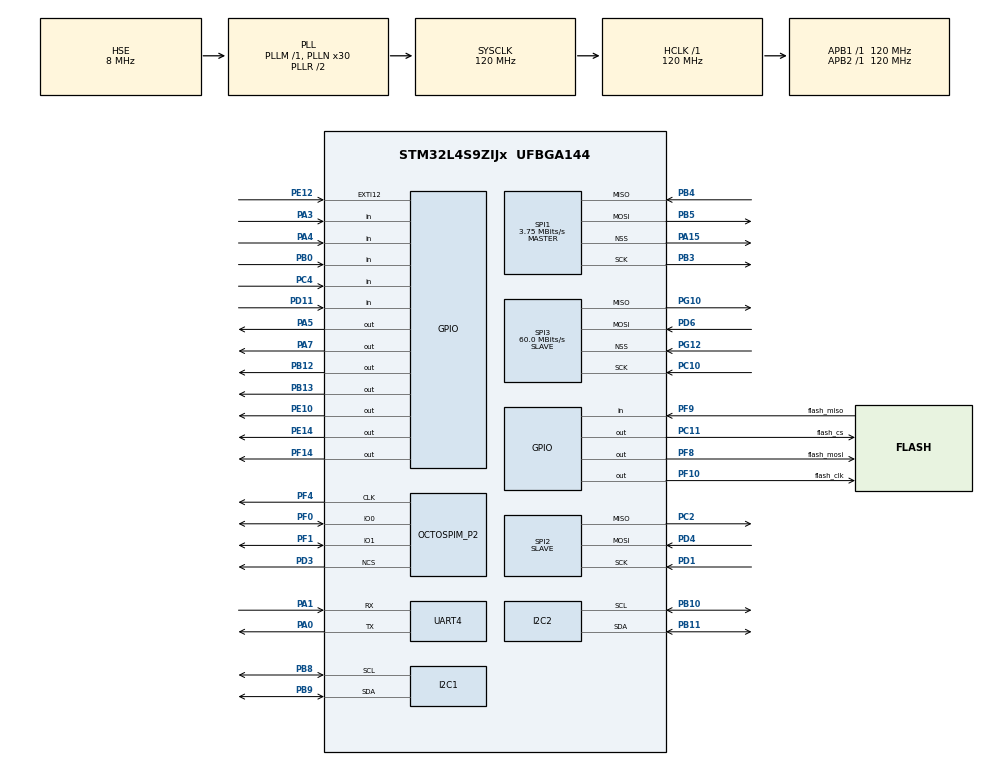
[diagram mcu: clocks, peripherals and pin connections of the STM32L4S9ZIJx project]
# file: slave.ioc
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DSIHOST.BTA_FlowControl=__NULL
DSIHOST.HorizontalBackPorch=252
DSIHOST.HorizontalLine=836
DSIHOST.HorizontalSyncActive=252
DSIHOST.LPCommandEnable=DSI_LP_COMMAND_ENABLE
DSIHOST.LPHorizontalBackPorchEnable=DSI_LP_HBP_ENABLE
DSIHOST.LPHorizontalFrontPorchEnable=DSI_LP_HFP_ENABLE
DSIHOST.LPLargestPacketSize=28
DSIHOST.LPVACTLargestPacketSize=80
DSIHOST.LPVerticalActiveEnable=DSI_LP_VACT_ENABLE
DSIHOST.LPVerticalBackPorchEnable=DSI_LP_VBP_ENABLE
DSIHOST.LPVerticalFrontPorchEnable=DSI_LP_VFP_ENABLE
DSIHOST.LPVerticalSyncActiveEnable=DSI_LP_VSYNC_ENABLE
DSIHOST.Mode=DSI_VID_MODE_NB_EVENTS
DSIHOST.PacketSize=80
DSIHOST.VerticalActive=80
DSIHOST.VerticalBackPorch=8
DSIHOST.VerticalFrontPorch=8
DSIHOST.VerticalSyncActive=8
DSIHOST_CKN.Mode=DSIHost_Video
DSIHOST_CKN.Signal=DSIHOST_CKN
DSIHOST_CKP.Mode=DSIHost_Video
DSIHOST_CKP.Signal=DSIHOST_CKP
DSIHOST_D0N.Mode=DSIHost_Video
DSIHOST_D0N.Signal=DSIHOST_D0N
DSIHOST_D0P.Mode=DSIHost_Video
DSIHOST_D0P.Signal=DSIHOST_D0P
DSIHOST_D1N.Mode=DSIHost_Video
DSIHOST_D1N.Signal=DSIHOST_D1N
DSIHOST_D1P.Mode=DSIHost_Video
DSIHOST_D1P.Signal=DSIHOST_D1P
I2C1.Timing=0x307075B1
I2C2.Timing=0x307075B1
LTDC.ActiveH=80
LTDC.ActiveW=80
LTDC.Alpha_L0=255
LTDC.Blue=255
LTDC.Blue_L0=255
LTDC.FBStartAdress_L0=(uint32_t *)image_80x80_rgb888
LTDC.Green=255
LTDC.Green_L0=255
LTDC.HBP=252
LTDC.HFP=252
LTDC.HSPolarity=LTDC_HSPOLARITY_AH
LTDC.HSync=252
LTDC.ImageHeight_L0=80
LTDC.ImageWidth_L0=80
LTDC.Layers=0
LTDC.PixelFormat_L0=LTDC_PIXEL_FORMAT_RGB888
LTDC.Red=255
LTDC.Red_L0=255
LTDC.VBP=8
LTDC.VSPolarity=LTDC_VSPOLARITY_AH
LTDC.VSync=8
LTDC.WindowX1_L0=80
LTDC.WindowY1_L0=80
Mcu.Family=STM32L4
Mcu.Name=STM32L4S9ZIJx
Mcu.Package=UFBGA144
NVIC.EXTI15_10_IRQn=true\:3\:0\:true\:false\:true\:true\:true\:true
NVIC.PriorityGroup=NVIC_PRIORITYGROUP_4
NVIC.SPI3_IRQn=true\:0\:0\:false\:false\:true\:true\:true\:true
PA0.Mode=Asynchronous
PA0.Signal=UART4_TX
PA1.Mode=Asynchronous
PA1.Signal=UART4_RX
PA15\ (JTDI).Mode=NSS_Signal_Hard_Output
PA15\ (JTDI).Signal=SPI1_NSS
PA3.Signal=GPIO_Input
PA4.Signal=GPIO_Input
PA5.Signal=GPIO_Output
PA7.Signal=GPIO_Output
PB0.Signal=GPIO_Input
PB10.Mode=I2C
PB10.Signal=I2C2_SCL
PB11.Mode=I2C
PB11.Signal=I2C2_SDA
PB12.Signal=GPIO_Output
PB13.Signal=GPIO_Output
PB3\ (JTDO/TRACESWO).Mode=Full_Duplex_Master
PB3\ (JTDO/TRACESWO).Signal=SPI1_SCK
PB4\ (NJTRST).Mode=Full_Duplex_Master
PB4\ (NJTRST).Signal=SPI1_MISO
PB5.Mode=Full_Duplex_Master
PB5.Signal=SPI1_MOSI
PB8.Mode=I2C
PB8.Signal=I2C1_SCL
PB9.Mode=I2C
PB9.Signal=I2C1_SDA
PC10.Mode=Full_Duplex_Slave
PC10.Signal=SPI3_SCK
PC11.GPIO_Label=flash_cs
PC11.GPIO_Speed=GPIO_SPEED_FREQ_VERY_HIGH
PC11.PinState=GPIO_PIN_SET
PC11.Signal=GPIO_Output
PC2.Mode=Full_Duplex_Slave
PC2.Signal=SPI2_MISO
PC4.Signal=GPIO_Input
PD1.Mode=Full_Duplex_Slave
PD1.Signal=SPI2_SCK
PD11.Signal=GPIO_Input
PD3.Mode=OCTOSPI2_Port2_NCS
PD3.Signal=OCTOSPIM_P2_NCS
PD4.Mode=Full_Duplex_Slave
PD4.Signal=SPI2_MOSI
PD6.Mode=Full_Duplex_Slave
PD6.Signal=SPI3_MOSI
PE10.Signal=GPIO_Output
PE12.GPIO_PuPd=GPIO_PULLDOWN
PE12.Signal=GPXTI12
PE14.GPIO_ModeDefaultOutputPP=GPIO_MODE_OUTPUT_PP
PE14.GPIO_PuPd=GPIO_PULLUP
PE14.GPIO_Speed=GPIO_SPEED_FREQ_VERY_HIGH
PE14.PinState=GPIO_PIN_SET
PE14.Signal=GPIO_Output
PF0.Mode=OCTOSPI2_IOL_Port2L_10
PF0.Signal=OCTOSPIM_P2_IO0
PF1.Mode=OCTOSPI2_IOL_Port2L_10
PF1.Signal=OCTOSPIM_P2_IO1
PF10.GPIO_Label=flash_clk
PF10.GPIO_Speed=GPIO_SPEED_FREQ_VERY_HIGH
PF10.Signal=GPIO_Output
PF14.GPIO_ModeDefaultOutputPP=GPIO_MODE_OUTPUT_PP
PF14.GPIO_PuPd=GPIO_NOPULL
PF14.Signal=GPIO_Output
PF4.Mode=O2_P2_CLK
PF4.Signal=OCTOSPIM_P2_CLK
PF8.GPIO_Label=flash_mosi
PF8.GPIO_Speed=GPIO_SPEED_FREQ_VERY_HIGH
PF8.Signal=GPIO_Output
PF9.GPIO_Label=flash_miso
PF9.Signal=GPIO_Input
PG10.Mode=Full_Duplex_Slave
PG10.Signal=SPI3_MISO
PG12.Mode=NSS_Signal_Hard_Input
PG12.Signal=SPI3_NSS
PH0-OSC_IN\ (PH0).Mode=HSE-External-Oscillator
PH0-OSC_IN\ (PH0).Signal=RCC_OSC_IN
PH1-OSC_OUT\ (PH1).Mode=HSE-External-Oscillator
PH1-OSC_OUT\ (PH1).Signal=RCC_OSC_OUT
ProjectManager.HeapSize=0x200
ProjectManager.StackSize=0x400
ProjectManager.TargetToolchain=STM32CubeIDE
RCC.ADCFreq_Value=32000000
RCC.AHBFreq_Value=120000000
RCC.APB1Freq_Value=120000000
RCC.APB1TimFreq_Value=120000000
RCC.APB2Freq_Value=120000000
RCC.APB2TimFreq_Value=120000000
RCC.CortexFreq_Value=120000000
RCC.DSITX_Div=2
RCC.HCLKFreq_Value=120000000
RCC.HSE_VALUE=8000000
RCC.HSI48_VALUE=48000000
RCC.HSI_VALUE=16000000
RCC.LSE_VALUE=32768
RCC.LtdcClockSelection=RCC_LTDCCLKSOURCE_PLLSAI2_DIV4
RCC.MSI_VALUE=4000000
RCC.PLLDSINDIV=50
RCC.PLLDSIODF=DSI_PLL_OUT_DIV2
RCC.PLLN=30
RCC.PLLSourceVirtual=RCC_PLLSOURCE_HSE
RCC.PREFETCH_ENABLE=1
RCC.SYSCLKFreq_VALUE=120000000
RCC.SYSCLKSource=RCC_SYSCLKSOURCE_PLLCLK
RCC.USBFreq_Value=32000000
RCC.VCOOutputFreq_Value=240000000
SPI1.BaudRatePrescaler=SPI_BAUDRATEPRESCALER_32
SPI1.CLKPolarity=SPI_POLARITY_LOW
SPI1.CalculateBaudRate=3.75 MBits/s
SPI1.DataSize=SPI_DATASIZE_8BIT
SPI1.Direction=SPI_DIRECTION_2LINES
SPI1.Mode=SPI_MODE_MASTER
SPI1.VirtualNSS=VM_NSSHARD
SPI1.VirtualType=VM_MASTER
SPI2.DataSize=SPI_DATASIZE_8BIT
SPI2.Direction=SPI_DIRECTION_2LINES
SPI2.Mode=SPI_MODE_SLAVE
SPI2.VirtualType=VM_SLAVE
SPI3.CalculateBaudRate=60.0 MBits/s
SPI3.DataSize=SPI_DATASIZE_8BIT
SPI3.Direction=SPI_DIRECTION_2LINES
SPI3.Mode=SPI_MODE_SLAVE
SPI3.VirtualNSS=VM_NSSHARD
SPI3.VirtualType=VM_SLAVE
VP_LTDC_DSIMode.Mode=RGB888
VP_OCTOSPI2_VS_dual.Mode=single_mode
board=custom

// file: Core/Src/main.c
/* USER CODE BEGIN Header */
/**
 ******************************************************************************
 * @file           : main.c
 * @brief          : Main program body
 ******************************************************************************
 * @attention
 *
 * Copyright (c) 2023 STMicroelectronics.
 * All rights reserved.
 *
 * This software is licensed under terms that can be found in the LICENSE file
 * in the root directory of this software component.
 * If no LICENSE file comes with this software, it is provided AS-IS.
 *
 ******************************************************************************
 */
/* USER CODE END Header */
#include "main.h"

DSI_HandleTypeDef hdsi;

I2C_HandleTypeDef hi2c1;
I2C_HandleTypeDef hi2c2;

LTDC_HandleTypeDef hltdc;

OSPI_HandleTypeDef hospi2;

SPI_HandleTypeDef hspi1;
SPI_HandleTypeDef hspi2;
SPI_HandleTypeDef hspi3;

UART_HandleTypeDef huart4;

/* USER CODE BEGIN PV */
#define HARDWARE_VER "1.0.0"
#define FLASH_CLK_PIN       GPIO_PIN_10
#define FLASH_CLK_PORT      GPIOF
#define FLASH_CS_PIN        GPIO_PIN_11
#define FLASH_CS_PORT       GPIOC
#define FLASH_MISO_PIN      GPIO_PIN_9
#define FLASH_MISO_PORT     GPIOF
#define FLASH_MOSI_PIN      GPIO_PIN_8
#define FLASH_MOSI_PORT     GPIOF

uint8_t BOARD_NUMBER = 2;
uint8_t spi3_buf[2] = {0};
uint32_t frame_rate=1000; //delay time (ms)
uint8_t frame_buf_tmp[6400]={0};
uint8_t frame_buf_0[6400]={0};
uint8_t frame_buf_1[6400]={0};
uint8_t frame_buf_flash[6400]={0};
uint8_t play_mode=0;  //0=Static display, 1=Dynamic display
uint8_t play_mode_source=0;  //0=flash, 1=frame_buf_0, 2=frame_buf_1
uint8_t static_flag=0;  //0=buffer_0, 1=buffer_1
uint8_t display_image_number=0;
uint8_t total_image_in_flash=10;
uint8_t image_80x80_rgb888[19200] =	{[0 ... 19199] = 0xFF};

#define BUFFER_SIZE  8192
uint8_t aRxBuffer[BUFFER_SIZE] = { 0 };

/* USER CODE END PV */

void SystemClock_Config(void);
static void MX_GPIO_Init(void);
static void MX_I2C1_Init(void);
static void MX_I2C2_Init(void);
static void MX_OCTOSPI2_Init(void);
static void MX_SPI1_Init(void);
static void MX_SPI2_Init(void);
static void MX_SPI3_Init(void);
static void MX_UART4_Init(void);
static void MX_DSIHOST_DSI_Init(void);
static void MX_LTDC_Init(void);
/* USER CODE BEGIN PFP */
static void mipi_config(void);
static void SPI_master2slave(char * buf, char * frame_buf, uint8_t image_flag);
static void Write_Registers_data(uint8_t do_flag);
static void I2C_Control_Voltage(void);
static void LCD_PowerOn(void);
void delay_us(int time);
void delay_100ns(int time);
void FLASH_WriteByte(uint8_t data);
uint8_t FLASH_ReadByte(void);
void write_flash_page(uint8_t *data, uint8_t image_id);
void read_flash_page(uint8_t *data, uint8_t image_id);
void erase_flash_sector(uint8_t image_id);
void reset_flash_software();
/* USER CODE END PFP */

int main(void)
{

  /* MCU Configuration--------------------------------------------------------*/

  /* Reset of all peripherals, Initializes the Flash interface and the Systick. */
  HAL_Init();

  /* Configure the system clock */
  SystemClock_Config();

  /* Initialize all configured peripherals */
  MX_GPIO_Init();
  MX_I2C1_Init();
  MX_I2C2_Init();
  MX_OCTOSPI2_Init();
  MX_SPI1_Init();
  MX_SPI2_Init();
  MX_SPI3_Init();
  MX_UART4_Init();
  MX_DSIHOST_DSI_Init();
  MX_LTDC_Init();
  /* USER CODE BEGIN 2 */
  mipi_config();
  HAL_UART_Transmit(&huart4, "slave start", 11, 1000);
  /* USER CODE END 2 */

  /* Infinite loop */
  /* USER CODE BEGIN WHILE */
  int frame_buf_count = 0;

	if(HAL_GPIO_ReadPin(GPIOB, GPIO_PIN_0) == GPIO_PIN_SET && HAL_GPIO_ReadPin(GPIOC, GPIO_PIN_4) == GPIO_PIN_SET) //switch = 00
	{
		BOARD_NUMBER = 2;
	}
	else if(HAL_GPIO_ReadPin(GPIOB, GPIO_PIN_0) == GPIO_PIN_SET && HAL_GPIO_ReadPin(GPIOC, GPIO_PIN_4) == GPIO_PIN_RESET) //switch = 01
	{
		BOARD_NUMBER = 2;
	}
	else if(HAL_GPIO_ReadPin(GPIOB, GPIO_PIN_0) == GPIO_PIN_RESET && HAL_GPIO_ReadPin(GPIOC, GPIO_PIN_4) == GPIO_PIN_SET) //switch = 10
	{
		BOARD_NUMBER = 3;
	}
	else if(HAL_GPIO_ReadPin(GPIOB, GPIO_PIN_0) == GPIO_PIN_RESET && HAL_GPIO_ReadPin(GPIOC, GPIO_PIN_4) == GPIO_PIN_RESET) //switch = 11
	{
		BOARD_NUMBER = 4;
	}

    __HAL_SPI_ENABLE(&hspi1);
    __HAL_SPI_ENABLE(&hspi3);
	HAL_SPI_Receive_IT(&hspi3, &spi3_buf, 2);

	while (1) {
    /* USER CODE END WHILE */

    /* USER CODE BEGIN 3 */
		if(play_mode_source == 0)
		{
			if(play_mode == 0)
			{
				read_flash_page(&frame_buf_flash, display_image_number);
				frame_buf_count = 0;
				for (int i = 0; i < 6400;  i += 4)
				{
					image_80x80_rgb888[frame_buf_count] = frame_buf_flash[i+1];
					frame_buf_count += 2;
					image_80x80_rgb888[frame_buf_count] = frame_buf_flash[i];
					frame_buf_count += 4;
					image_80x80_rgb888[frame_buf_count] = frame_buf_flash[i+2];
					frame_buf_count += 4;
					image_80x80_rgb888[frame_buf_count] = frame_buf_flash[i+3];
					frame_buf_count += 2;
				}
			}
			else if(play_mode == 1)
			{
				for(int i=0; i<total_image_in_flash; i++)
				{
					if(play_mode_source != 0) break;
					read_flash_page(&frame_buf_flash, i);
					frame_buf_count = 0;
					for (int i = 0; i < 6400;  i += 4)
					{
						image_80x80_rgb888[frame_buf_count] = frame_buf_flash[i+1];
						frame_buf_count += 2;
						image_80x80_rgb888[frame_buf_count] = frame_buf_flash[i];
						frame_buf_count += 4;
						image_80x80_rgb888[frame_buf_count] = frame_buf_flash[i+2];
						frame_buf_count += 4;
						image_80x80_rgb888[frame_buf_count] = frame_buf_flash[i+3];
						frame_buf_count += 2;
					}
					HAL_Delay(frame_rate);
				}
			}
		}
		else if(play_mode_source == 1)
		{
			frame_buf_count = 0;
			for (int i = 0; i < 6400;  i += 4)
			{
				image_80x80_rgb888[frame_buf_count] = frame_buf_0[i+1];
				frame_buf_count += 2;
				image_80x80_rgb888[frame_buf_count] = frame_buf_0[i];
				frame_buf_count += 4;
				image_80x80_rgb888[frame_buf_count] = frame_buf_0[i+2];
				frame_buf_count += 4;
				image_80x80_rgb888[frame_buf_count] = frame_buf_0[i+3];
				frame_buf_count += 2;
			}
		}
		else if(play_mode_source == 2)
		{
			frame_buf_count = 0;
			for (int i = 0; i < 6400;  i += 4)
			{
				image_80x80_rgb888[frame_buf_count] = frame_buf_1[i+1];
				frame_buf_count += 2;
				image_80x80_rgb888[frame_buf_count] = frame_buf_1[i];
				frame_buf_count += 4;
				image_80x80_rgb888[frame_buf_count] = frame_buf_1[i+2];
				frame_buf_count += 4;
				image_80x80_rgb888[frame_buf_count] = frame_buf_1[i+3];
				frame_buf_count += 2;
			}
		}
		HAL_Delay(10);

		/*I2C_Control_Voltage();
		while (1);*/
	}
  /* USER CODE END 3 */
}

void SystemClock_Config(void)
{
  RCC_OscInitTypeDef RCC_OscInitStruct = {0};
  RCC_ClkInitTypeDef RCC_ClkInitStruct = {0};

  /** Configure the main internal regulator output voltage
  */
  if (HAL_PWREx_ControlVoltageScaling(PWR_REGULATOR_VOLTAGE_SCALE1_BOOST) != HAL_OK)
  {
    Error_Handler();
  }

  /** Initializes the RCC Oscillators according to the specified parameters
  * in the RCC_OscInitTypeDef structure.
  */
  RCC_OscInitStruct.OscillatorType = RCC_OSCILLATORTYPE_HSE;
  RCC_OscInitStruct.HSEState = RCC_HSE_ON;
  RCC_OscInitStruct.PLL.PLLState = RCC_PLL_ON;
  RCC_OscInitStruct.PLL.PLLSource = RCC_PLLSOURCE_HSE;
  RCC_OscInitStruct.PLL.PLLM = 1;
  RCC_OscInitStruct.PLL.PLLN = 30;
  RCC_OscInitStruct.PLL.PLLP = RCC_PLLP_DIV2;
  RCC_OscInitStruct.PLL.PLLQ = RCC_PLLQ_DIV2;
  RCC_OscInitStruct.PLL.PLLR = RCC_PLLR_DIV2;
  if (HAL_RCC_OscConfig(&RCC_OscInitStruct) != HAL_OK)
  {
    Error_Handler();
  }

  /** Initializes the CPU, AHB and APB buses clocks
  */
  RCC_ClkInitStruct.ClockType = RCC_CLOCKTYPE_HCLK|RCC_CLOCKTYPE_SYSCLK
                              |RCC_CLOCKTYPE_PCLK1|RCC_CLOCKTYPE_PCLK2;
  RCC_ClkInitStruct.SYSCLKSource = RCC_SYSCLKSOURCE_PLLCLK;
  RCC_ClkInitStruct.AHBCLKDivider = RCC_SYSCLK_DIV1;
  RCC_ClkInitStruct.APB1CLKDivider = RCC_HCLK_DIV1;
  RCC_ClkInitStruct.APB2CLKDivider = RCC_HCLK_DIV1;

  if (HAL_RCC_ClockConfig(&RCC_ClkInitStruct, FLASH_LATENCY_5) != HAL_OK)
  {
    Error_Handler();
  }
}

static void MX_DSIHOST_DSI_Init(void)
{

  DSI_PLLInitTypeDef PLLInit = {0};
  DSI_HOST_TimeoutTypeDef HostTimeouts = {0};
  DSI_PHY_TimerTypeDef PhyTimings = {0};
  DSI_VidCfgTypeDef VidCfg = {0};

  hdsi.Instance = DSI;
  hdsi.Init.AutomaticClockLaneControl = DSI_AUTO_CLK_LANE_CTRL_DISABLE;
  hdsi.Init.TXEscapeCkdiv = 2;
  hdsi.Init.NumberOfLanes = DSI_ONE_DATA_LANE;
  PLLInit.PLLNDIV = 50;
  PLLInit.PLLIDF = DSI_PLL_IN_DIV1;
  PLLInit.PLLODF = DSI_PLL_OUT_DIV2;
  if (HAL_DSI_Init(&hdsi, &PLLInit) != HAL_OK)
  {
    Error_Handler();
  }
  HostTimeouts.TimeoutCkdiv = 1;
  HostTimeouts.HighSpeedTransmissionTimeout = 0;
  HostTimeouts.LowPowerReceptionTimeout = 0;
  HostTimeouts.HighSpeedReadTimeout = 0;
  HostTimeouts.LowPowerReadTimeout = 0;
  HostTimeouts.HighSpeedWriteTimeout = 0;
  HostTimeouts.HighSpeedWritePrespMode = DSI_HS_PM_DISABLE;
  HostTimeouts.LowPowerWriteTimeout = 0;
  HostTimeouts.BTATimeout = 0;
  if (HAL_DSI_ConfigHostTimeouts(&hdsi, &HostTimeouts) != HAL_OK)
  {
    Error_Handler();
  }
  PhyTimings.ClockLaneHS2LPTime = 19;
  PhyTimings.ClockLaneLP2HSTime = 15;
  PhyTimings.DataLaneHS2LPTime = 9;
  PhyTimings.DataLaneLP2HSTime = 10;
  PhyTimings.DataLaneMaxReadTime = 0;
  PhyTimings.StopWaitTime = 0;
  if (HAL_DSI_ConfigPhyTimer(&hdsi, &PhyTimings) != HAL_OK)
  {
    Error_Handler();
  }
  if (HAL_DSI_SetLowPowerRXFilter(&hdsi, 10000) != HAL_OK)
  {
    Error_Handler();
  }
  if (HAL_DSI_ConfigErrorMonitor(&hdsi, HAL_DSI_ERROR_NONE) != HAL_OK)
  {
    Error_Handler();
  }
  VidCfg.VirtualChannelID = 0;
  VidCfg.ColorCoding = DSI_RGB888;
  VidCfg.LooselyPacked = DSI_LOOSELY_PACKED_DISABLE;
  VidCfg.Mode = DSI_VID_MODE_NB_EVENTS;
  VidCfg.PacketSize = 80;
  VidCfg.NumberOfChunks = 1;
  VidCfg.NullPacketSize = 0;
  VidCfg.HSPolarity = DSI_HSYNC_ACTIVE_HIGH;
  VidCfg.VSPolarity = DSI_VSYNC_ACTIVE_HIGH;
  VidCfg.DEPolarity = DSI_DATA_ENABLE_ACTIVE_HIGH;
  VidCfg.HorizontalSyncActive = 252;
  VidCfg.HorizontalBackPorch = 252;
  VidCfg.HorizontalLine = 836;
  VidCfg.VerticalSyncActive = 8;
  VidCfg.VerticalBackPorch = 8;
  VidCfg.VerticalFrontPorch = 8;
  VidCfg.VerticalActive = 80;
  VidCfg.LPCommandEnable = DSI_LP_COMMAND_ENABLE;
  VidCfg.LPLargestPacketSize = 28;
  VidCfg.LPVACTLargestPacketSize = 80;
  VidCfg.LPHorizontalFrontPorchEnable = DSI_LP_HFP_ENABLE;
  VidCfg.LPHorizontalBackPorchEnable = DSI_LP_HBP_ENABLE;
  VidCfg.LPVerticalActiveEnable = DSI_LP_VACT_ENABLE;
  VidCfg.LPVerticalFrontPorchEnable = DSI_LP_VFP_ENABLE;
  VidCfg.LPVerticalBackPorchEnable = DSI_LP_VBP_ENABLE;
  VidCfg.LPVerticalSyncActiveEnable = DSI_LP_VSYNC_ENABLE;
  VidCfg.FrameBTAAcknowledgeEnable = DSI_FBTAA_DISABLE;
  if (HAL_DSI_ConfigVideoMode(&hdsi, &VidCfg) != HAL_OK)
  {
    Error_Handler();
  }
  if (HAL_DSI_SetGenericVCID(&hdsi, 0) != HAL_OK)
  {
    Error_Handler();
  }
  /* USER CODE BEGIN DSIHOST_Init 2 */
	LCD_PowerOn();
  /* USER CODE END DSIHOST_Init 2 */

}

static void MX_I2C1_Init(void)
{

  hi2c1.Instance = I2C1;
  hi2c1.Init.Timing = 0x307075B1;
  hi2c1.Init.OwnAddress1 = 0;
  hi2c1.Init.AddressingMode = I2C_ADDRESSINGMODE_7BIT;
  hi2c1.Init.DualAddressMode = I2C_DUALADDRESS_DISABLE;
  hi2c1.Init.OwnAddress2 = 0;
  hi2c1.Init.OwnAddress2Masks = I2C_OA2_NOMASK;
  hi2c1.Init.GeneralCallMode = I2C_GENERALCALL_DISABLE;
  hi2c1.Init.NoStretchMode = I2C_NOSTRETCH_DISABLE;
  if (HAL_I2C_Init(&hi2c1) != HAL_OK)
  {
    Error_Handler();
  }

  /** Configure Analogue filter
  */
  if (HAL_I2CEx_ConfigAnalogFilter(&hi2c1, I2C_ANALOGFILTER_ENABLE) != HAL_OK)
  {
    Error_Handler();
  }

  /** Configure Digital filter
  */
  if (HAL_I2CEx_ConfigDigitalFilter(&hi2c1, 0) != HAL_OK)
  {
    Error_Handler();
  }

}

static void MX_I2C2_Init(void)
{

  hi2c2.Instance = I2C2;
  hi2c2.Init.Timing = 0x307075B1;
  hi2c2.Init.OwnAddress1 = 0;
  hi2c2.Init.AddressingMode = I2C_ADDRESSINGMODE_7BIT;
  hi2c2.Init.DualAddressMode = I2C_DUALADDRESS_DISABLE;
  hi2c2.Init.OwnAddress2 = 0;
  hi2c2.Init.OwnAddress2Masks = I2C_OA2_NOMASK;
  hi2c2.Init.GeneralCallMode = I2C_GENERALCALL_DISABLE;
  hi2c2.Init.NoStretchMode = I2C_NOSTRETCH_DISABLE;
  if (HAL_I2C_Init(&hi2c2) != HAL_OK)
  {
    Error_Handler();
  }

  /** Configure Analogue filter
  */
  if (HAL_I2CEx_ConfigAnalogFilter(&hi2c2, I2C_ANALOGFILTER_ENABLE) != HAL_OK)
  {
    Error_Handler();
  }

  /** Configure Digital filter
  */
  if (HAL_I2CEx_ConfigDigitalFilter(&hi2c2, 0) != HAL_OK)
  {
    Error_Handler();
  }

}

static void MX_LTDC_Init(void)
{

  LTDC_LayerCfgTypeDef pLayerCfg = {0};

  hltdc.Instance = LTDC;
  hltdc.Init.HSPolarity = LTDC_HSPOLARITY_AH;
  hltdc.Init.VSPolarity = LTDC_VSPOLARITY_AH;
  hltdc.Init.DEPolarity = LTDC_DEPOLARITY_AL;
  hltdc.Init.PCPolarity = LTDC_PCPOLARITY_IPC;
  hltdc.Init.HorizontalSync = 251;
  hltdc.Init.VerticalSync = 7;
  hltdc.Init.AccumulatedHBP = 503;
  hltdc.Init.AccumulatedVBP = 15;
  hltdc.Init.AccumulatedActiveW = 583;
  hltdc.Init.AccumulatedActiveH = 95;
  hltdc.Init.TotalWidth = 835;
  hltdc.Init.TotalHeigh = 97;
  hltdc.Init.Backcolor.Blue = 255;
  hltdc.Init.Backcolor.Green = 255;
  hltdc.Init.Backcolor.Red = 255;
  if (HAL_LTDC_Init(&hltdc) != HAL_OK)
  {
    Error_Handler();
  }
  pLayerCfg.WindowX0 = 0;
  pLayerCfg.WindowX1 = 80;
  pLayerCfg.WindowY0 = 0;
  pLayerCfg.WindowY1 = 80;
  pLayerCfg.PixelFormat = LTDC_PIXEL_FORMAT_RGB888;
  pLayerCfg.Alpha = 255;
  pLayerCfg.Alpha0 = 0;
  pLayerCfg.BlendingFactor1 = LTDC_BLENDING_FACTOR1_CA;
  pLayerCfg.BlendingFactor2 = LTDC_BLENDING_FACTOR2_CA;
  pLayerCfg.FBStartAdress = (uint32_t *)image_80x80_rgb888;
  pLayerCfg.ImageWidth = 80;
  pLayerCfg.ImageHeight = 80;
  pLayerCfg.Backcolor.Blue = 255;
  pLayerCfg.Backcolor.Green = 255;
  pLayerCfg.Backcolor.Red = 255;
  if (HAL_LTDC_ConfigLayer(&hltdc, &pLayerCfg, 0) != HAL_OK)
  {
    Error_Handler();
  }
  /* USER CODE BEGIN LTDC_Init 2 */
  //(uint32_t *)image_80x80_rgb888;
  /* USER CODE END LTDC_Init 2 */

}

static void MX_OCTOSPI2_Init(void)
{

  OSPIM_CfgTypeDef OSPIM_Cfg_Struct = {0};

  /* OCTOSPI2 parameter configuration*/
  hospi2.Instance = OCTOSPI2;
  hospi2.Init.FifoThreshold = 1;
  hospi2.Init.DualQuad = HAL_OSPI_DUALQUAD_DISABLE;
  hospi2.Init.MemoryType = HAL_OSPI_MEMTYPE_MICRON;
  hospi2.Init.DeviceSize = 32;
  hospi2.Init.ChipSelectHighTime = 1;
  hospi2.Init.FreeRunningClock = HAL_OSPI_FREERUNCLK_DISABLE;
  hospi2.Init.ClockMode = HAL_OSPI_CLOCK_MODE_0;
  hospi2.Init.ClockPrescaler = 1;
  hospi2.Init.SampleShifting = HAL_OSPI_SAMPLE_SHIFTING_NONE;
  hospi2.Init.DelayHoldQuarterCycle = HAL_OSPI_DHQC_DISABLE;
  hospi2.Init.ChipSelectBoundary = 0;
  hospi2.Init.DelayBlockBypass = HAL_OSPI_DELAY_BLOCK_BYPASSED;
  if (HAL_OSPI_Init(&hospi2) != HAL_OK)
  {
    Error_Handler();
  }
  OSPIM_Cfg_Struct.ClkPort = 2;
  OSPIM_Cfg_Struct.NCSPort = 2;
  OSPIM_Cfg_Struct.IOLowPort = HAL_OSPIM_IOPORT_2_LOW;
  if (HAL_OSPIM_Config(&hospi2, &OSPIM_Cfg_Struct, HAL_OSPI_TIMEOUT_DEFAULT_VALUE) != HAL_OK)
  {
    Error_Handler();
  }

}

static void MX_SPI1_Init(void)
{

  /* SPI1 parameter configuration*/
  hspi1.Instance = SPI1;
  hspi1.Init.Mode = SPI_MODE_MASTER;
  hspi1.Init.Direction = SPI_DIRECTION_2LINES;
  hspi1.Init.DataSize = SPI_DATASIZE_8BIT;
  hspi1.Init.CLKPolarity = SPI_POLARITY_LOW;
  hspi1.Init.CLKPhase = SPI_PHASE_1EDGE;
  hspi1.Init.NSS = SPI_NSS_HARD_OUTPUT;
  hspi1.Init.BaudRatePrescaler = SPI_BAUDRATEPRESCALER_32;
  hspi1.Init.FirstBit = SPI_FIRSTBIT_MSB;
  hspi1.Init.TIMode = SPI_TIMODE_DISABLE;
  hspi1.Init.CRCCalculation = SPI_CRCCALCULATION_DISABLE;
  hspi1.Init.CRCPolynomial = 7;
  hspi1.Init.CRCLength = SPI_CRC_LENGTH_DATASIZE;
  hspi1.Init.NSSPMode = SPI_NSS_PULSE_ENABLE;
  if (HAL_SPI_Init(&hspi1) != HAL_OK)
  {
    Error_Handler();
  }

}

static void MX_SPI2_Init(void)
{

  /* SPI2 parameter configuration*/
  hspi2.Instance = SPI2;
  hspi2.Init.Mode = SPI_MODE_SLAVE;
  hspi2.Init.Direction = SPI_DIRECTION_2LINES;
  hspi2.Init.DataSize = SPI_DATASIZE_8BIT;
  hspi2.Init.CLKPolarity = SPI_POLARITY_LOW;
  hspi2.Init.CLKPhase = SPI_PHASE_1EDGE;
  hspi2.Init.NSS = SPI_NSS_SOFT;
  hspi2.Init.FirstBit = SPI_FIRSTBIT_MSB;
  hspi2.Init.TIMode = SPI_TIMODE_DISABLE;
  hspi2.Init.CRCCalculation = SPI_CRCCALCULATION_DISABLE;
  hspi2.Init.CRCPolynomial = 7;
  hspi2.Init.CRCLength = SPI_CRC_LENGTH_DATASIZE;
  hspi2.Init.NSSPMode = SPI_NSS_PULSE_DISABLE;
  if (HAL_SPI_Init(&hspi2) != HAL_OK)
  {
    Error_Handler();
  }

}

static void MX_SPI3_Init(void)
{

  /* SPI3 parameter configuration*/
  hspi3.Instance = SPI3;
  hspi3.Init.Mode = SPI_MODE_SLAVE;
  hspi3.Init.Direction = SPI_DIRECTION_2LINES;
  hspi3.Init.DataSize = SPI_DATASIZE_8BIT;
  hspi3.Init.CLKPolarity = SPI_POLARITY_LOW;
  hspi3.Init.CLKPhase = SPI_PHASE_1EDGE;
  hspi3.Init.NSS = SPI_NSS_HARD_INPUT;
  hspi3.Init.FirstBit = SPI_FIRSTBIT_MSB;
  hspi3.Init.TIMode = SPI_TIMODE_DISABLE;
  hspi3.Init.CRCCalculation = SPI_CRCCALCULATION_DISABLE;
  hspi3.Init.CRCPolynomial = 7;
  hspi3.Init.CRCLength = SPI_CRC_LENGTH_DATASIZE;
  hspi3.Init.NSSPMode = SPI_NSS_PULSE_DISABLE;
  if (HAL_SPI_Init(&hspi3) != HAL_OK)
  {
    Error_Handler();
  }

}

static void MX_UART4_Init(void)
{

  huart4.Instance = UART4;
  huart4.Init.BaudRate = 115200;
  huart4.Init.WordLength = UART_WORDLENGTH_8B;
  huart4.Init.StopBits = UART_STOPBITS_1;
  huart4.Init.Parity = UART_PARITY_NONE;
  huart4.Init.Mode = UART_MODE_TX_RX;
  huart4.Init.HwFlowCtl = UART_HWCONTROL_NONE;
  huart4.Init.OverSampling = UART_OVERSAMPLING_16;
  huart4.Init.OneBitSampling = UART_ONE_BIT_SAMPLE_DISABLE;
  huart4.Init.ClockPrescaler = UART_PRESCALER_DIV1;
  huart4.AdvancedInit.AdvFeatureInit = UART_ADVFEATURE_NO_INIT;
  if (HAL_UART_Init(&huart4) != HAL_OK)
  {
    Error_Handler();
  }
  if (HAL_UARTEx_SetTxFifoThreshold(&huart4, UART_TXFIFO_THRESHOLD_1_8) != HAL_OK)
  {
    Error_Handler();
  }
  if (HAL_UARTEx_SetRxFifoThreshold(&huart4, UART_RXFIFO_THRESHOLD_1_8) != HAL_OK)
  {
    Error_Handler();
  }
  if (HAL_UARTEx_DisableFifoMode(&huart4) != HAL_OK)
  {
    Error_Handler();
  }

}

static void MX_GPIO_Init(void)
{
  GPIO_InitTypeDef GPIO_InitStruct = {0};

  /* GPIO Ports Clock Enable */
  __HAL_RCC_GPIOB_CLK_ENABLE();
  __HAL_RCC_GPIOD_CLK_ENABLE();
  __HAL_RCC_GPIOC_CLK_ENABLE();
  __HAL_RCC_GPIOA_CLK_ENABLE();
  __HAL_RCC_GPIOG_CLK_ENABLE();
  HAL_PWREx_EnableVddIO2();
  __HAL_RCC_GPIOF_CLK_ENABLE();
  __HAL_RCC_GPIOH_CLK_ENABLE();
  __HAL_RCC_GPIOE_CLK_ENABLE();

  /*Configure GPIO pin Output Level */
  HAL_GPIO_WritePin(flash_cs_GPIO_Port, flash_cs_Pin, GPIO_PIN_SET);

  /*Configure GPIO pin Output Level */
  HAL_GPIO_WritePin(GPIOF, flash_mosi_Pin|flash_clk_Pin|GPIO_PIN_14, GPIO_PIN_RESET);

  /*Configure GPIO pin Output Level */
  HAL_GPIO_WritePin(GPIOA, GPIO_PIN_5|GPIO_PIN_7, GPIO_PIN_RESET);

  /*Configure GPIO pin Output Level */
  HAL_GPIO_WritePin(GPIOE, GPIO_PIN_10, GPIO_PIN_RESET);

  /*Configure GPIO pin Output Level */
  HAL_GPIO_WritePin(GPIOB, GPIO_PIN_12|GPIO_PIN_13, GPIO_PIN_RESET);

  /*Configure GPIO pin Output Level */
  HAL_GPIO_WritePin(GPIOE, GPIO_PIN_14, GPIO_PIN_SET);

  /*Configure GPIO pin : flash_cs_Pin */
  GPIO_InitStruct.Pin = flash_cs_Pin;
  GPIO_InitStruct.Mode = GPIO_MODE_OUTPUT_PP;
  GPIO_InitStruct.Pull = GPIO_NOPULL;
  GPIO_InitStruct.Speed = GPIO_SPEED_FREQ_VERY_HIGH;
  HAL_GPIO_Init(flash_cs_GPIO_Port, &GPIO_InitStruct);

  /*Configure GPIO pins : flash_mosi_Pin flash_clk_Pin */
  GPIO_InitStruct.Pin = flash_mosi_Pin|flash_clk_Pin;
  GPIO_InitStruct.Mode = GPIO_MODE_OUTPUT_PP;
  GPIO_InitStruct.Pull = GPIO_NOPULL;
  GPIO_InitStruct.Speed = GPIO_SPEED_FREQ_VERY_HIGH;
  HAL_GPIO_Init(GPIOF, &GPIO_InitStruct);

  /*Configure GPIO pin : flash_miso_Pin */
  GPIO_InitStruct.Pin = flash_miso_Pin;
  GPIO_InitStruct.Mode = GPIO_MODE_INPUT;
  GPIO_InitStruct.Pull = GPIO_NOPULL;
  HAL_GPIO_Init(flash_miso_GPIO_Port, &GPIO_InitStruct);

  /*Configure GPIO pin : PD11 */
  GPIO_InitStruct.Pin = GPIO_PIN_11;
  GPIO_InitStruct.Mode = GPIO_MODE_INPUT;
  GPIO_InitStruct.Pull = GPIO_NOPULL;
  HAL_GPIO_Init(GPIOD, &GPIO_InitStruct);

  /*Configure GPIO pins : PA4 PA3 */
  GPIO_InitStruct.Pin = GPIO_PIN_4|GPIO_PIN_3;
  GPIO_InitStruct.Mode = GPIO_MODE_INPUT;
  GPIO_InitStruct.Pull = GPIO_NOPULL;
  HAL_GPIO_Init(GPIOA, &GPIO_InitStruct);

  /*Configure GPIO pins : PA5 PA7 */
  GPIO_InitStruct.Pin = GPIO_PIN_5|GPIO_PIN_7;
  GPIO_InitStruct.Mode = GPIO_MODE_OUTPUT_PP;
  GPIO_InitStruct.Pull = GPIO_NOPULL;
  GPIO_InitStruct.Speed = GPIO_SPEED_FREQ_LOW;
  HAL_GPIO_Init(GPIOA, &GPIO_InitStruct);

  /*Configure GPIO pin : PC4 */
  GPIO_InitStruct.Pin = GPIO_PIN_4;
  GPIO_InitStruct.Mode = GPIO_MODE_INPUT;
  GPIO_InitStruct.Pull = GPIO_NOPULL;
  HAL_GPIO_Init(GPIOC, &GPIO_InitStruct);

  /*Configure GPIO pin : PE10 */
  GPIO_InitStruct.Pin = GPIO_PIN_10;
  GPIO_InitStruct.Mode = GPIO_MODE_OUTPUT_PP;
  GPIO_InitStruct.Pull = GPIO_NOPULL;
  GPIO_InitStruct.Speed = GPIO_SPEED_FREQ_LOW;
  HAL_GPIO_Init(GPIOE, &GPIO_InitStruct);

  /*Configure GPIO pins : PB12 PB13 */
  GPIO_InitStruct.Pin = GPIO_PIN_12|GPIO_PIN_13;
  GPIO_InitStruct.Mode = GPIO_MODE_OUTPUT_PP;
  GPIO_InitStruct.Pull = GPIO_NOPULL;
  GPIO_InitStruct.Speed = GPIO_SPEED_FREQ_LOW;
  HAL_GPIO_Init(GPIOB, &GPIO_InitStruct);

  /*Configure GPIO pin : PB0 */
  GPIO_InitStruct.Pin = GPIO_PIN_0;
  GPIO_InitStruct.Mode = GPIO_MODE_INPUT;
  GPIO_InitStruct.Pull = GPIO_NOPULL;
  HAL_GPIO_Init(GPIOB, &GPIO_InitStruct);

  /*Configure GPIO pin : PF14 */
  GPIO_InitStruct.Pin = GPIO_PIN_14;
  GPIO_InitStruct.Mode = GPIO_MODE_OUTPUT_PP;
  GPIO_InitStruct.Pull = GPIO_NOPULL;
  GPIO_InitStruct.Speed = GPIO_SPEED_FREQ_LOW;
  HAL_GPIO_Init(GPIOF, &GPIO_InitStruct);

  /*Configure GPIO pin : PE12 */
  GPIO_InitStruct.Pin = GPIO_PIN_12;
  GPIO_InitStruct.Mode = GPIO_MODE_IT_RISING;
  GPIO_InitStruct.Pull = GPIO_PULLDOWN;
  HAL_GPIO_Init(GPIOE, &GPIO_InitStruct);

  /*Configure GPIO pin : PE14 */
  GPIO_InitStruct.Pin = GPIO_PIN_14;
  GPIO_InitStruct.Mode = GPIO_MODE_OUTPUT_PP;
  GPIO_InitStruct.Pull = GPIO_PULLUP;
  GPIO_InitStruct.Speed = GPIO_SPEED_FREQ_VERY_HIGH;
  HAL_GPIO_Init(GPIOE, &GPIO_InitStruct);

  /* EXTI interrupt init*/
  HAL_NVIC_SetPriority(EXTI15_10_IRQn, 3, 0);
  HAL_NVIC_EnableIRQ(EXTI15_10_IRQn);

}

/* USER CODE BEGIN 4 */
void mipi_config() {
	if (HAL_DSI_Start(&hdsi) != HAL_OK) {
		Error_Handler();
	}
	HAL_DSI_ShortWrite(&hdsi, 0, DSI_DCS_SHORT_PKT_WRITE_P1, 0xF0, 0xC3);
	HAL_DSI_ShortWrite(&hdsi, 0, DSI_DCS_SHORT_PKT_WRITE_P1, 0xF0, 0x96);
	uint8_t cmd3[7] = { 0x00, 0x77, 0x1F, 0x04, 0x2A, 0x80, 0x33 };
	HAL_DSI_LongWrite(&hdsi, 0, DSI_DCS_LONG_PKT_WRITE, 8, 0xE7, cmd3);
	uint8_t cmd4[3] = { 0xC0, 0x68, 0xE0 };
	HAL_DSI_LongWrite(&hdsi, 0, DSI_DCS_LONG_PKT_WRITE, 4, 0xA4, cmd4);
	uint8_t cmd5[4] = { 0x42, 0x05, 0x24, 0x03 };
	HAL_DSI_LongWrite(&hdsi, 0, DSI_DCS_LONG_PKT_WRITE, 5, 0xC3, cmd5);
	uint8_t cmd6[4] = { 0x42, 0x05, 0x24, 0x03 };
	HAL_DSI_LongWrite(&hdsi, 0, DSI_DCS_LONG_PKT_WRITE, 5, 0xC4, cmd6);
	uint8_t cmd7[12] = { 0x0F, 0xF5, 0x10, 0x13, 0x22, 0x25, 0x10, 0x55, 0x55,
			0x55, 0x55, 0x55 };
	HAL_DSI_LongWrite(&hdsi, 0, DSI_DCS_LONG_PKT_WRITE, 13, 0xE5, cmd7);
	uint8_t cmd8[12] = { 0x0F, 0xF5, 0x10, 0x13, 0x22, 0x25, 0x10, 0x55, 0x55,
			0x55, 0x55, 0x55 };
	HAL_DSI_LongWrite(&hdsi, 0, DSI_DCS_LONG_PKT_WRITE, 13, 0xE6, cmd8);
	uint8_t cmd9[7] = { 0x00, 0x55, 0x00, 0x00, 0x00, 0x49, 0x22 };
	HAL_DSI_LongWrite(&hdsi, 0, DSI_DCS_LONG_PKT_WRITE, 8, 0xEC, cmd9);
	uint8_t cmd10[4] = { 0x88, 0x05, 0x0F, 0x18 };
	HAL_DSI_LongWrite(&hdsi, 0, DSI_DCS_LONG_PKT_WRITE, 5, 0xC1, cmd10);
	uint8_t cmd11[4] = { 0x88, 0x05, 0x0F, 0x18 };
	HAL_DSI_LongWrite(&hdsi, 0, DSI_DCS_LONG_PKT_WRITE, 5, 0xC2, cmd11);
	HAL_DSI_ShortWrite(&hdsi, 0, DSI_DCS_SHORT_PKT_WRITE_P1, 0x36, 0x00);
	HAL_DSI_ShortWrite(&hdsi, 0, DSI_DCS_SHORT_PKT_WRITE_P1, 0x3A, 0x07);
	HAL_DSI_ShortWrite(&hdsi, 0, DSI_DCS_SHORT_PKT_WRITE_P1, 0xC5, 0xBE);
	uint8_t cmd15[14] = { 0xC0, 0x01, 0x04, 0x0B, 0x0B, 0x29, 0x41, 0x55, 0x55,
			0x3D, 0x19, 0x18, 0x24, 0x27 };
	HAL_DSI_LongWrite(&hdsi, 0, DSI_DCS_LONG_PKT_WRITE, 15, 0xE0, cmd15);
	uint8_t cmd16[14] = { 0xC0, 0x01, 0x05, 0x0B, 0x0C, 0x29, 0x42, 0x55, 0x56,
			0x3E, 0x1A, 0x18, 0x24, 0x28 };
	HAL_DSI_LongWrite(&hdsi, 0, DSI_DCS_LONG_PKT_WRITE, 15, 0xE1, cmd16);
	HAL_DSI_ShortWrite(&hdsi, 0, DSI_DCS_SHORT_PKT_WRITE_P1, 0xB2, 0x10);
	HAL_DSI_ShortWrite(&hdsi, 0, DSI_DCS_SHORT_PKT_WRITE_P1, 0xB3, 0x01);
	HAL_DSI_ShortWrite(&hdsi, 0, DSI_DCS_SHORT_PKT_WRITE_P1, 0xB4, 0x01);
	uint8_t cmd20[2] = { 0x27, 0x09 };
	HAL_DSI_LongWrite(&hdsi, 0, DSI_DCS_LONG_PKT_WRITE, 3, 0xB6, cmd20);
	uint8_t cmd21[4] = { 0x00, 0x54, 0x00, 0x54 };
	HAL_DSI_LongWrite(&hdsi, 0, DSI_DCS_LONG_PKT_WRITE, 5, 0xB5, cmd21);
	uint8_t cmd22[9] = { 0x20, 0x12, 0x40, 0x00, 0x00, 0x2F, 0x2A, 0x0A, 0x00 };
	HAL_DSI_LongWrite(&hdsi, 0, DSI_DCS_LONG_PKT_WRITE, 10, 0xA5, cmd22);
	uint8_t cmd23[9] = { 0x20, 0x12, 0x40, 0x00, 0x00, 0x2F, 0x2A, 0x0A, 0x00 };
	HAL_DSI_LongWrite(&hdsi, 0, DSI_DCS_LONG_PKT_WRITE, 10, 0xA6, cmd23);
	uint8_t cmd24[7] = { 0x58, 0x0A, 0x21, 0x00, 0x20, 0x01, 0x00 };
	HAL_DSI_LongWrite(&hdsi, 0, DSI_DCS_LONG_PKT_WRITE, 8, 0xBA, cmd24);
	uint8_t cmd25[8] = { 0x00, 0x45, 0x00, 0x1F, 0x15, 0x87, 0x07, 0x04 };
	HAL_DSI_LongWrite(&hdsi, 0, DSI_DCS_LONG_PKT_WRITE, 9, 0xBB, cmd25);
	uint8_t cmd26[8] = { 0x00, 0x45, 0x00, 0x1F, 0x15, 0x87, 0x07, 0x04 };
	HAL_DSI_LongWrite(&hdsi, 0, DSI_DCS_LONG_PKT_WRITE, 9, 0xBC, cmd26);
	uint8_t cmd27[11] = { 0x11, 0x77, 0xFF, 0xFF, 0x25, 0x34, 0x43, 0x52, 0xFF,
			0xFF, 0xF9 };
	HAL_DSI_LongWrite(&hdsi, 0, DSI_DCS_LONG_PKT_WRITE, 12, 0xBD, cmd27);
	HAL_DSI_ShortWrite(&hdsi, 0, DSI_DCS_SHORT_PKT_WRITE_P1, 0xED, 0xC3);
	uint8_t cmd29[3] = { 0x40, 0x0F, 0x00 };
	HAL_DSI_LongWrite(&hdsi, 0, DSI_DCS_LONG_PKT_WRITE, 4, 0xE4, cmd29);
	uint8_t cmd30[9] = { 0x90, 0x00, 0x3F, 0x10, 0x3F, 0x35, 0x7F, 0x7F, 0x25 };
	HAL_DSI_LongWrite(&hdsi, 0, DSI_DCS_LONG_PKT_WRITE, 10, 0xCC, cmd30);
	HAL_DSI_ShortWrite(&hdsi, 0, DSI_DCS_SHORT_PKT_WRITE_P1, 0x35, 0x00);
	HAL_Delay(0);
	HAL_DSI_ShortWrite(&hdsi, 0, DSI_DCS_SHORT_PKT_WRITE_P0, 0x11, 0x00);
	HAL_Delay(120);
	HAL_DSI_ShortWrite(&hdsi, 0, DSI_DCS_SHORT_PKT_WRITE_P0, 0x29, 0x00);
	HAL_Delay(120);
	HAL_DSI_ShortWrite(&hdsi, 0, DSI_DCS_SHORT_PKT_WRITE_P1, 0x35, 0x00);
}

void SPI_master2slave(char * buf, char * frame_buf, uint8_t image_flag) {
	HAL_SPI_Transmit(&hspi1, &buf[0], 1, 1000);
	HAL_SPI_Transmit(&hspi1, &buf[1], 1, 1000);
	if(image_flag == 1)
	{
		for(int i=0; i< 6400; i++)
		{
			HAL_SPI_Transmit(&hspi1, &frame_buf[i], 1, 1000);
		}
	}
}

void Write_Registers_data(uint8_t do_flag) {
	uint8_t Register_Address[1] = { 0 };
	uint8_t data[1] = { 0 };

	HAL_SPI_Receive(&hspi3, (uint8_t *)Register_Address, 1, 1000);
	HAL_SPI_Receive(&hspi3, (uint8_t *)data, 1, 1000);
	HAL_SPI_Transmit(&hspi1, &Register_Address[0], 1, 1000);
	HAL_SPI_Transmit(&hspi1, &data[0], 1, 1000);
	if(do_flag == 1)
	{
		switch (Register_Address[0]) {
		case 0: //Horizontal Resolution
			break;
		case 1: //Vertical Resolution
			break;
		case 2: //Horizontal blanking (High byte)
			break;
		case 3: //Horizontal blanking (Low byte)
			break;
		case 4: //Vertical blanking (High byte)
			break;
		case 5: //Vertical blanking (Low byte)
			break;
		case 6: //Frame rate x 2 (Hz)
			frame_rate=(uint32_t)data[0]*1000;
			break;
		case 7: //Show SPI flash content length
			break;
		case 8: //Content number of each frame
			break;
		case 9: //Clock rate of SPI
			break;
		case 10: //Clock rate of I2C
			break;
		case 11: //Pixel Mapping  one
			break;
		case 12: //Pixel Mapping one
			break;
		case 13: //Years of Version
			break;
		case 14: //Day of Version
			break;
		case 15: //Month of Version
			break;
		case 16: //Control A
			switch (data[0] & 0b00000011) {
			case 0b00000000:  //Display content of frame buffer (0)
				play_mode_source = 1;
				break;
			case 0b00000001:  //Display content of frame buffer (1)
				play_mode_source = 2;
				break;
			case 0b00000010:  //Display SPI input content
				break;
			case 0b00000011:  //Display Flash content
				play_mode_source = 0;
				break;
			}
			break;
		case 19: //Status
			break;
		}
	}
}

static void I2C_Control_Voltage()
{
	uint8_t data[1] = { 0 };
	HAL_GPIO_WritePin(GPIOB, GPIO_PIN_12, GPIO_PIN_SET);
	HAL_Delay(100);
	HAL_UART_Transmit(&huart4, "a", 1, 1000);

	data[0] = 0x40;
	if(HAL_I2C_Mem_Write(&hi2c1, (0x74 & 0x7f) << 1, 0x00, I2C_MEMADD_SIZE_8BIT, &data, 1, 1000) == HAL_OK) {
		data[0] = 0x00;
		if(HAL_I2C_Mem_Write(&hi2c1, (0x74 & 0x7f) << 1, 0x01, I2C_MEMADD_SIZE_8BIT, &data, 1, 1000) == HAL_OK) {
			data[0] = 0xA0;
			if(HAL_I2C_Mem_Write(&hi2c1, (0x74 & 0x7f) << 1, 0x06, I2C_MEMADD_SIZE_8BIT, &data, 1, 1000) == HAL_OK) {
			}
		}
	}
	HAL_Delay(200);
	if(HAL_I2C_Mem_Read(&hi2c1, (0x74 & 0x7f) << 1, 0x00, I2C_MEMADD_SIZE_8BIT, &aRxBuffer, 1, 1000) == HAL_OK)
	{
		HAL_UART_Transmit(&huart4, &aRxBuffer, 1, 1000);
	}
	HAL_Delay(200);
	if(HAL_I2C_Mem_Read(&hi2c1, (0x74 & 0x7f) << 1, 0x06, I2C_MEMADD_SIZE_8BIT, &aRxBuffer, 1, 1000) == HAL_OK)
	{
		HAL_UART_Transmit(&huart4, &aRxBuffer, 1, 1000);
	}
	HAL_Delay(200);
	if(HAL_I2C_Mem_Read(&hi2c1, (0x74 & 0x7f) << 1, 0x07, I2C_MEMADD_SIZE_8BIT, &aRxBuffer, 1, 1000) == HAL_OK)
	{
		HAL_UART_Transmit(&huart4, &aRxBuffer, 1, 1000);
	}
	//v1.8
	/*if(HAL_I2C_Mem_Write(&hi2c1, (0x74 & 0x7f) << 1, 0x00, I2C_MEMADD_SIZE_8BIT, 0x64, 1, 1000) == HAL_OK) {
		if(HAL_I2C_Mem_Write(&hi2c1, (0x74 & 0x7f) << 1, 0x06, I2C_MEMADD_SIZE_8BIT, 0xA0, 1, 1000) == HAL_OK) {
			HAL_UART_Transmit(&huart4, "v1.8", 4, 1000);
		}
	}*/

	//v2.5
	/*if(HAL_I2C_Mem_Write(&hi2c1, (0x74 & 0x7f) << 1, 0x00, I2C_MEMADD_SIZE_8BIT, 0xAA, 1, 1000) == HAL_OK) {
		if(HAL_I2C_Mem_Write(&hi2c1, (0x74 & 0x7f) << 1, 0x06, I2C_MEMADD_SIZE_8BIT, 0xA0, 1, 1000) == HAL_OK) {
			HAL_UART_Transmit(&huart4, "v2.5", 4, 1000);
		}
	}}*/

	//v3.3
	/*if(HAL_I2C_Mem_Write(&hi2c1, (0x74 & 0x7f) << 1, 0x00, I2C_MEMADD_SIZE_8BIT, 0xFA, 1, 1000) == HAL_OK) {
		if(HAL_I2C_Mem_Write(&hi2c1, (0x74 & 0x7f) << 1, 0x06, I2C_MEMADD_SIZE_8BIT, 0xA0, 1, 1000) == HAL_OK) {
			HAL_UART_Transmit(&huart4, "v3.3", 4, 1000);
		}
	}*/
}

static void LCD_PowerOn(void)
{
	/* Activate XRES active low */
	HAL_GPIO_WritePin(GPIOE, GPIO_PIN_14, GPIO_PIN_RESET);

	HAL_Delay(20); /* wait 20 ms */

	/* Desactivate XRES */
	HAL_GPIO_WritePin(GPIOE, GPIO_PIN_14, GPIO_PIN_SET);

	/* Wait for 10ms after releasing XRES before sending commands */
	HAL_Delay(120);
}

void delay_us(int time)
{
	int i = 0;
	while (time--)
	{
		i = 13;
		while (i--)
			;
	}
}

void delay_100ns(int time)
{
	int i = 0;
	while (time--)
	{
		i = 1;
		while (i--)
			;
	}
}

int button_count=0;
void HAL_GPIO_EXTI_Callback(uint16_t GPIO_Pin)
{
	if(GPIO_Pin==GPIO_PIN_12)
	{
		button_count++;
		delay_us(50000);
		for(int i=0; i<200; i++)
		{
			if(HAL_GPIO_ReadPin(GPIOE, GPIO_PIN_12) == GPIO_PIN_RESET)
			{
				if(button_count<50 && play_mode==0)
				{
					display_image_number++;
					if(display_image_number >= total_image_in_flash)
						display_image_number = 0;
				}
				button_count = 0;
				return;
			}
			button_count++;
			delay_us(10000);
		}
		if(play_mode==1)
		{
			HAL_GPIO_WritePin(GPIOB, GPIO_PIN_13, GPIO_PIN_RESET);
			play_mode = 0;
		}
		else if(play_mode==0)
		{
			HAL_GPIO_WritePin(GPIOB, GPIO_PIN_13, GPIO_PIN_SET);
			play_mode = 1;
		}
		button_count = 0;
	}
}

void HAL_SPI_RxCpltCallback(SPI_HandleTypeDef * hspi)
{
	// USB command: Type and command
	switch (spi3_buf[0] & 0b11000000) {
	case 0b00000000:  //Chain SPI functions
		switch (spi3_buf[0] & 0b00111000) {
		case 0b00000000: //Write content of full frame buffer to fram buffer (0)
			switch (spi3_buf[0] & 0b00000111) {
			case 0b00000000: //Command for DIP switch ID = 00
				break;
			case 0b00000001: //Command for DIP switch ID = 01
				if(BOARD_NUMBER==2)
				{
					HAL_SPI_Receive(&hspi3, (uint8_t*) frame_buf_0, 6400, 1000);
					SPI_master2slave(&spi3_buf, &frame_buf_0, 1);
				}
				else
				{
					HAL_SPI_Receive(&hspi3, (uint8_t*) frame_buf_tmp, 6400, 1000);
					SPI_master2slave(&spi3_buf, &frame_buf_tmp, 1);
				}
				break;
			case 0b00000010: //Command for DIP switch ID = 10
				if(BOARD_NUMBER==3)
				{
					HAL_SPI_Receive(&hspi3, (uint8_t*) frame_buf_0, 6400, 1000);
					SPI_master2slave(&spi3_buf, &frame_buf_0, 1);
				}
				else
				{
					HAL_SPI_Receive(&hspi3, (uint8_t*) frame_buf_tmp, 6400, 1000);
					SPI_master2slave(&spi3_buf, &frame_buf_tmp, 1);
				}
				break;
			case 0b00000011: //Command for DIP switch ID = 11
				if(BOARD_NUMBER==4)
				{
					HAL_SPI_Receive(&hspi3, (uint8_t*) frame_buf_0, 6400, 1000);
					SPI_master2slave(&spi3_buf, &frame_buf_0, 1);
				}
				else
				{
					HAL_SPI_Receive(&hspi3, (uint8_t*) frame_buf_tmp, 6400, 1000);
					SPI_master2slave(&spi3_buf, &frame_buf_tmp, 1);
				}
				break;
			default: //Broadcast to every board
				HAL_SPI_Receive(&hspi3, (uint8_t*) frame_buf_0, 6400, 1000);
				SPI_master2slave(&spi3_buf, &frame_buf_0, 1);
				break;
			}
			break;
		case 0b00001000: //Write content of full frame buffer to fram buffer (1)
			switch (spi3_buf[0] & 0b00000111) {
			case 0b00000000: //Command for DIP switch ID = 00
				break;
			case 0b00000001: //Command for DIP switch ID = 01
				if(BOARD_NUMBER==2)
				{
					HAL_SPI_Receive(&hspi3, (uint8_t*) frame_buf_1, 6400, 1000);
					SPI_master2slave(&spi3_buf, &frame_buf_1, 1);
				}
				else
				{
					HAL_SPI_Receive(&hspi3, (uint8_t*) frame_buf_tmp, 6400, 1000);
					SPI_master2slave(&spi3_buf, &frame_buf_tmp, 1);
				}
				break;
			case 0b00000010: //Command for DIP switch ID = 10
				if(BOARD_NUMBER==3)
				{
					HAL_SPI_Receive(&hspi3, (uint8_t*) frame_buf_1, 6400, 1000);
					SPI_master2slave(&spi3_buf, &frame_buf_1, 1);
				}
				else
				{
					HAL_SPI_Receive(&hspi3, (uint8_t*) frame_buf_tmp, 6400, 1000);
					SPI_master2slave(&spi3_buf, &frame_buf_tmp, 1);
				}
				break;
			case 0b00000011: //Command for DIP switch ID = 11
				if(BOARD_NUMBER==4)
				{
					HAL_SPI_Receive(&hspi3, (uint8_t*) frame_buf_1, 6400, 1000);
					SPI_master2slave(&spi3_buf, &frame_buf_1, 1);
				}
				else
				{
					HAL_SPI_Receive(&hspi3, (uint8_t*) frame_buf_tmp, 6400, 1000);
					SPI_master2slave(&spi3_buf, &frame_buf_tmp, 1);
				}
				break;
			default: //Broadcast to every board
				HAL_SPI_Receive(&hspi3, (uint8_t*) frame_buf_1, 6400, 1000);
				SPI_master2slave(&spi3_buf, &frame_buf_1, 1);
				break;
			}
			break;
		case 0b00010000: //Write Registers data
			SPI_master2slave(&spi3_buf, NULL, 0);
			switch (spi3_buf[0] & 0b00000111) {
			case 0b00000000: //Command for DIP switch ID = 00
				Write_Registers_data(0);
				break;
			case 0b00000001: //Command for DIP switch ID = 01
				if(BOARD_NUMBER==2)
				{
					Write_Registers_data(1);
				}
				else
				{
					Write_Registers_data(0);
				}
				break;
			case 0b00000010: //Command for DIP switch ID = 10
				if(BOARD_NUMBER==3)
				{
					Write_Registers_data(1);
				}
				else
				{
					Write_Registers_data(0);
				}
				break;
			case 0b00000011: //Command for DIP switch ID = 11
				if(BOARD_NUMBER==4)
				{
					Write_Registers_data(1);
				}
				else
				{
					Write_Registers_data(0);
				}
				break;
			default: //Broadcast to every board
				Write_Registers_data(1);
				break;
			}
			break;
		case 0b00011000: //Write partial content of frame buffer
			break;
		case 0b00100000: //Read content of full frame buffer to fram buffer (0)
			break;
		case 0b00101000: //Read content of full frame buffer to fram buffer (1)
			break;
		case 0b00110000: //Read Registers data
			break;
		case 0b00111000: //Read partial content of frame buffer
			break;
		}
		break;
	case 0b01000000:  //Master SPI functions
		switch (spi3_buf[0] & 0b00111000) {
		case 0b00000000: //Start SPI write data
			break;
		case 0b00001000: //Continuous write SPI data
			break;
		case 0b00010000: //End SPI write data
			break;
		case 0b00011000: //Start SPI Read data
			break;
		case 0b00100000: //Continuous Read SPI data
			break;
		case 0b00101000: //End SPI Read data
			break;
		}
		break;
	case 0b10000000:  //I2C command
		switch (spi3_buf[0] & 0b00111000) {
		case 0b00000000: //I2C Write Data
			break;
		case 0b00100000: //I2C Read Data
			break;
		}
		break;
	case 0b11000000:  //SPI flash function & Slave SPI
		switch (spi3_buf[0] & 0b00111000) {
		case 0b00000000: //Write data to SPI flash
			switch (spi3_buf[0] & 0b00000111) {
			case 0b00000000: //Command for DIP switch ID = 00
				break;
			case 0b00000001: //Command for DIP switch ID = 01
				HAL_SPI_Receive(&hspi3, (uint8_t*) frame_buf_tmp, 6400, 1000);
				SPI_master2slave(&spi3_buf, &frame_buf_tmp, 1);
				if(BOARD_NUMBER==2)
				{
					erase_flash_sector(spi3_buf[1] - 1);
					write_flash_page(&frame_buf_tmp, spi3_buf[1] - 1);
				}
				break;
			case 0b00000010: //Command for DIP switch ID = 10
				HAL_SPI_Receive(&hspi3, (uint8_t*) frame_buf_tmp, 6400, 1000);
				SPI_master2slave(&spi3_buf, &frame_buf_tmp, 1);
				if(BOARD_NUMBER=3)
				{
					erase_flash_sector(spi3_buf[1] - 1);
					write_flash_page(&frame_buf_tmp, spi3_buf[1] - 1);
				}
				break;
			case 0b00000011: //Command for DIP switch ID = 11
				HAL_SPI_Receive(&hspi3, (uint8_t*) frame_buf_tmp, 6400, 1000);
				SPI_master2slave(&spi3_buf, &frame_buf_tmp, 1);
				if(BOARD_NUMBER==4)
				{
					erase_flash_sector(spi3_buf[1] - 1);
					write_flash_page(&frame_buf_tmp, spi3_buf[1] - 1);
				}
				break;
			default: //Broadcast to every board
				HAL_SPI_Receive(&hspi3, (uint8_t*) frame_buf_tmp, 6400, 1000);
				SPI_master2slave(&spi3_buf, &frame_buf_tmp, 1);
				erase_flash_sector(spi3_buf[1] - 1);
				write_flash_page(&frame_buf_tmp, spi3_buf[1] - 1);
				break;
			}
			break;
		case 0b00001000: //Read data from SPI flash
			break;
		case 0b00100000: //Display Data by Slave SPI
			break;
		}
		break;
	}
	// USB command: ID
	switch (spi3_buf[0] & 0b00000111) {
	case 0b00000000:  //Command for DIP switch ID = 00
		break;
	case 0b00000001:  //Command for DIP switch ID = 01
		break;
	case 0b00000010:  //Command for DIP switch ID = 10
		break;
	case 0b00000011:  //Command for DIP switch ID = 11
		break;
	default:  //Broadcast to every board
		break;
	}

	HAL_SPI_Receive_IT(&hspi3, &spi3_buf, 2);
}

void FLASH_WriteByte(uint8_t data) {
    for (int i = 7; i >= 0; i--) {
        HAL_GPIO_WritePin(FLASH_MOSI_PORT, FLASH_MOSI_PIN, (data >> i) & 1);

        HAL_GPIO_WritePin(FLASH_CLK_PORT, FLASH_CLK_PIN, GPIO_PIN_SET);
        delay_100ns(1);
        HAL_GPIO_WritePin(FLASH_CLK_PORT, FLASH_CLK_PIN, GPIO_PIN_RESET);
        delay_100ns(1);
    }
}

uint8_t FLASH_ReadByte(void) {
    uint8_t data = 0;

    for (int i = 7; i >= 0; i--) {
        HAL_GPIO_WritePin(FLASH_CLK_PORT, FLASH_CLK_PIN, GPIO_PIN_SET);
        delay_100ns(1);
        data |= (HAL_GPIO_ReadPin(FLASH_MISO_PORT, FLASH_MISO_PIN) << i);
        HAL_GPIO_WritePin(FLASH_CLK_PORT,FLASH_CLK_PIN, GPIO_PIN_RESET);
        delay_100ns(1);
    }

    return data;
}

void write_flash_page(uint8_t *data, uint8_t image_id)
{
	int image_id_H = image_id/8;
	int image_id_L = image_id%8;
	int count=0;
	for(uint32_t i=image_id_L*0x20; i<image_id_L*0x20+25; i++)
	{
		// enable write
		HAL_GPIO_WritePin(FLASH_CS_PORT, FLASH_CS_PIN, GPIO_PIN_RESET);
		FLASH_WriteByte(0x06);
		HAL_GPIO_WritePin(FLASH_CS_PORT, FLASH_CS_PIN, GPIO_PIN_SET);

		// write data to flash page
		HAL_GPIO_WritePin(FLASH_CS_PORT, FLASH_CS_PIN, GPIO_PIN_RESET);
		FLASH_WriteByte(0x02);
		FLASH_WriteByte(image_id_H);
		FLASH_WriteByte(i);
		FLASH_WriteByte(0x00);
		for(uint32_t j=0; j<256; j++)
		{
			FLASH_WriteByte(data[count*256+j]);
		}
		HAL_GPIO_WritePin(FLASH_CS_PORT, FLASH_CS_PIN, GPIO_PIN_SET);

		// disable write
		HAL_GPIO_WritePin(FLASH_CS_PORT, FLASH_CS_PIN, GPIO_PIN_RESET);
		FLASH_WriteByte(0x04);
		HAL_GPIO_WritePin(FLASH_CS_PORT, FLASH_CS_PIN, GPIO_PIN_SET);
		delay_us(1000);
		count++;
	}
}

void read_flash_page(uint8_t *data, uint8_t image_id)
{
	int image_id_H = image_id/8;
	int image_id_L = image_id%8;
	int count=0;
	for(uint32_t i=image_id_L*0x20; i<image_id_L*0x20+25; i++)
	{
		HAL_GPIO_WritePin(FLASH_CS_PORT, FLASH_CS_PIN, GPIO_PIN_RESET);
		FLASH_WriteByte(0x03);
		FLASH_WriteByte(image_id_H);
		FLASH_WriteByte(i);
		FLASH_WriteByte(0x00);
		for(uint32_t j=0; j<256; j++)
		{
			data[count*256+j] = FLASH_ReadByte();
		}
		HAL_GPIO_WritePin(FLASH_CS_PORT, FLASH_CS_PIN, GPIO_PIN_SET);
		count++;
	}
}

void erase_flash_sector(uint8_t image_id)
{
	int image_id_H = image_id/8;
	int image_id_L = image_id%8;
	reset_flash_software();

	HAL_GPIO_WritePin(FLASH_CS_PORT, FLASH_CS_PIN, GPIO_PIN_RESET);
	FLASH_WriteByte(0x06);
	HAL_GPIO_WritePin(FLASH_CS_PORT, FLASH_CS_PIN, GPIO_PIN_SET);

	HAL_GPIO_WritePin(FLASH_CS_PORT, FLASH_CS_PIN, GPIO_PIN_RESET);
	FLASH_WriteByte(0x20);
	FLASH_WriteByte(image_id_H);
	FLASH_WriteByte(image_id_L*0x20);
	FLASH_WriteByte(0x00);
	HAL_GPIO_WritePin(FLASH_CS_PORT, FLASH_CS_PIN, GPIO_PIN_SET);

	HAL_GPIO_WritePin(FLASH_CS_PORT, FLASH_CS_PIN, GPIO_PIN_RESET);
	FLASH_WriteByte(0x04);
	HAL_GPIO_WritePin(FLASH_CS_PORT, FLASH_CS_PIN, GPIO_PIN_SET);

	delay_us(30000);
	////////////////////////////////////////////////////////////
	HAL_GPIO_WritePin(FLASH_CS_PORT, FLASH_CS_PIN, GPIO_PIN_RESET);
	FLASH_WriteByte(0x06);
	HAL_GPIO_WritePin(FLASH_CS_PORT, FLASH_CS_PIN, GPIO_PIN_SET);

	HAL_GPIO_WritePin(FLASH_CS_PORT, FLASH_CS_PIN, GPIO_PIN_RESET);
	FLASH_WriteByte(0x20);
	FLASH_WriteByte(image_id_H);
	FLASH_WriteByte(image_id_L*0x20+0x10);
	FLASH_WriteByte(0x00);
	HAL_GPIO_WritePin(FLASH_CS_PORT, FLASH_CS_PIN, GPIO_PIN_SET);

	HAL_GPIO_WritePin(FLASH_CS_PORT, FLASH_CS_PIN, GPIO_PIN_RESET);
	FLASH_WriteByte(0x04);
	HAL_GPIO_WritePin(FLASH_CS_PORT, FLASH_CS_PIN, GPIO_PIN_SET);

	delay_us(30000);
}

void reset_flash_software()
{
	HAL_GPIO_WritePin(FLASH_CS_PORT, FLASH_CS_PIN, GPIO_PIN_RESET);
	FLASH_WriteByte(0x66);
	HAL_GPIO_WritePin(FLASH_CS_PORT, FLASH_CS_PIN, GPIO_PIN_SET);
	delay_100ns(1);
	HAL_GPIO_WritePin(FLASH_CS_PORT, FLASH_CS_PIN, GPIO_PIN_RESET);
	FLASH_WriteByte(0x99);
	HAL_GPIO_WritePin(FLASH_CS_PORT, FLASH_CS_PIN, GPIO_PIN_SET);
	delay_100ns(1);

	delay_us(1000);
}

/* USER CODE END 4 */

void Error_Handler(void)
{
	__disable_irq();
	while (1) {
	}
}
